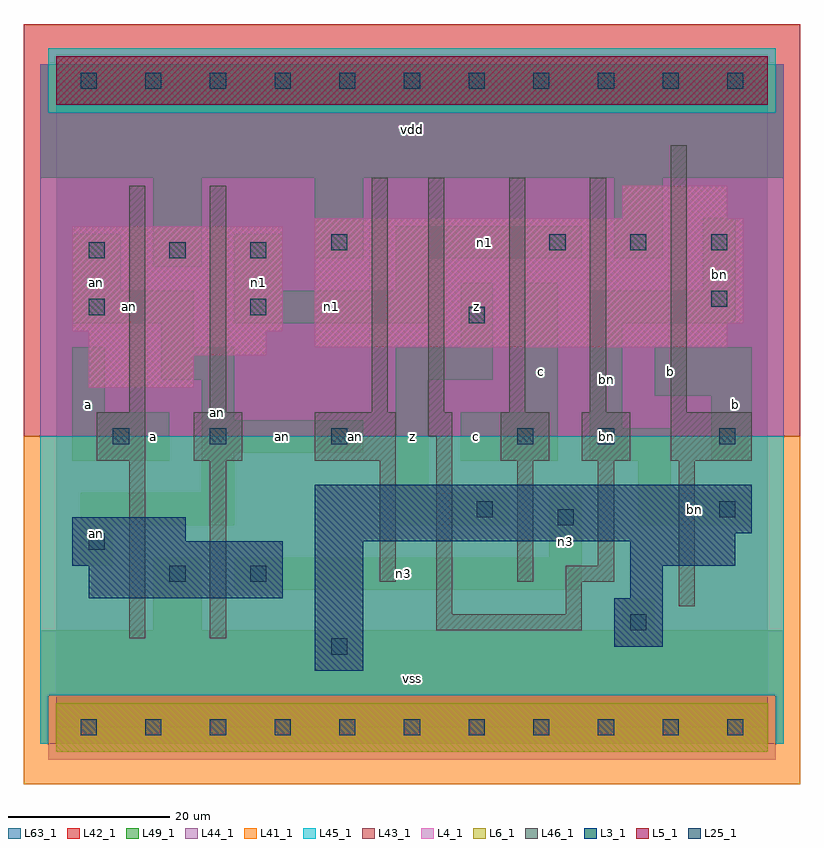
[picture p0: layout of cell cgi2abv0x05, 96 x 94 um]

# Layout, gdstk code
import gdstk
lib = gdstk.Library(unit=1e-6, precision=1e-09)
def R(c, l, rs):  # rectangles x0, y0, x1, y1
    for r in rs: c.add(gdstk.rectangle(r[:2], r[2:], *l))
def A(c, l, x, y, w, h, nx, ny, dx, dy):  # array of equal rectangles
    R(c, l, [(x+i*dx, y+j*dy, x+i*dx+w, y+j*dy+h) for i in range(nx) for j in range(ny)])
L3_1 = (3, 1)
L4_1 = (4, 1)
L5_1 = (5, 1)
L6_1 = (6, 1)
L25_1 = (25, 1)
L41_1 = (41, 1)
L42_1 = (42, 1)
L43_1 = (43, 1)
L44_1 = (44, 1)
L45_1 = (45, 1)
L46_1 = (46, 1)
L49_1 = (49, 1)
L63_1 = (63, 1)

cgi2abv0x05 = lib.new_cell('cgi2abv0x05')
R(cgi2abv0x05, L3_1, [(32,7,38,23), (69,10,75,16), (4,16,28,20), (71,16,75,20), (2,20,28,23), (71,20,84,23), (2,23,16,26), (32,23,84,24), (32,24,86,30)])
R(cgi2abv0x05, L4_1, [(4,42,17,46), (4,46,26,49), (32,47,83,50), (2,49,28,62), (32,50,85,63), (70,63,83,67)])
R(cgi2abv0x05, L5_1, [(0,77,88,83)])
R(cgi2abv0x05, L6_1, [(0,-3,88,3), (0,-3,88,3)])
A(cgi2abv0x05, L25_1, 3, -1, 2, 2, 11, 2, 8, 80)
A(cgi2abv0x05, L25_1, 4, 58, 2, 2, 3, 1, 10, 0)
A(cgi2abv0x05, L25_1, 61, 59, 2, 2, 3, 1, 10, 0)
R(cgi2abv0x05, L25_1, [(34,9,36,11), (71,12,73,14), (14,18,16,20), (24,18,26,20), (4,22,6,24), (62,25,64,27), (52,26,54,28), (82,26,84,28), (7,35,9,37), (19,35,21,37), (34,35,36,37), (57,35,59,37), (67,35,69,37), (82,35,84,37), (51,50,53,52), (4,51,6,53), (24,51,26,53), (81,52,83,54), (34,59,36,61)])
R(cgi2abv0x05, L41_1, [(-4,-7,92,36)])
R(cgi2abv0x05, L42_1, [(-4,36,92,87)])
R(cgi2abv0x05, L43_1, [(0,-3,88,3), (32,7,38,23), (69,10,75,16), (4,16,28,20), (71,16,75,20), (2,20,28,23), (71,20,84,23), (2,23,16,26), (32,23,84,24), (32,24,86,30), (4,42,17,46), (4,46,26,49), (32,47,83,50), (2,49,28,62), (32,50,85,63), (70,63,83,67), (0,77,88,83)])
R(cgi2abv0x05, L44_1, [(-1,-4,89,4), (-2,36,90,76), (-2,76,-1,82), (89,76,90,82)])
R(cgi2abv0x05, L45_1, [(-2,-2,-1,4), (89,-2,90,4), (-2,4,90,36), (-1,76,89,84)])
A(cgi2abv0x05, L46_1, 46, 39, 2, 29, 3, 1, 10, 0)
R(cgi2abv0x05, L46_1, [(9,11,11,33), (19,11,21,33), (47,12,65,14), (47,14,49,36), (63,14,65,18), (77,15,79,33), (40,18,42,33), (57,18,59,33), (63,18,69,20), (67,20,69,33), (5,33,11,39), (17,33,23,39), (32,33,42,39), (55,33,61,39), (65,33,71,39), (76,33,86,39), (46,36,49,39), (9,39,11,67), (19,39,21,67), (39,39,41,68), (76,39,78,72)])
R(cgi2abv0x05, L49_1, [(-2,-2,90,12), (12,12,18,21), (70,12,74,16), (22,17,65,21), (3,20,7,25), (61,21,65,29), (3,25,22,29), (42,25,56,29), (72,25,86,29), (18,29,22,34), (42,29,46,43), (72,29,76,33), (2,33,14,39), (50,33,62,39), (66,33,76,37), (81,33,86,41), (18,34,38,38), (66,37,70,50), (18,38,22,43), (2,39,6,47), (58,39,62,55), (74,41,86,47), (13,43,22,47), (42,43,54,47), (13,47,17,50), (50,47,54,55), (2,50,17,54), (22,50,46,54), (66,50,84,54), (2,54,8,61), (22,54,28,61), (42,54,46,58), (80,54,84,63), (12,57,18,68), (32,58,38,68), (42,58,65,62), (69,58,75,68), (-2,68,90,82)])
R(cgi2abv0x05, L63_1, [(0,0,88,80)])
cgi2abv0x05.add(gdstk.Label('an', (20,39), layer=46, texttype=1))
cgi2abv0x05.add(gdstk.Label('an', (37,36), layer=46, texttype=1))
cgi2abv0x05.add(gdstk.Label('bn', (68,36), layer=49, texttype=1))
cgi2abv0x05.add(gdstk.Label('an', (5,24), layer=49, texttype=1))
cgi2abv0x05.add(gdstk.Label('a', (4,40), layer=49, texttype=1))
cgi2abv0x05.add(gdstk.Label('a', (12,36), layer=49, texttype=1))
cgi2abv0x05.add(gdstk.Label('an', (5,55), layer=49, texttype=1))
cgi2abv0x05.add(gdstk.Label('n1', (25,55), layer=49, texttype=1))
cgi2abv0x05.add(gdstk.Label('an', (9,52), layer=49, texttype=1))
cgi2abv0x05.add(gdstk.Label('vss', (44,6), layer=49, texttype=1))
cgi2abv0x05.add(gdstk.Label('an', (28,36), layer=49, texttype=1))
cgi2abv0x05.add(gdstk.Label('z', (44,36), layer=49, texttype=1))
cgi2abv0x05.add(gdstk.Label('n1', (34,52), layer=49, texttype=1))
cgi2abv0x05.add(gdstk.Label('vdd', (44,74), layer=49, texttype=1))
cgi2abv0x05.add(gdstk.Label('n3', (43,19), layer=49, texttype=1))
cgi2abv0x05.add(gdstk.Label('n3', (63,23), layer=49, texttype=1))
cgi2abv0x05.add(gdstk.Label('c', (52,36), layer=49, texttype=1))
cgi2abv0x05.add(gdstk.Label('c', (60,44), layer=49, texttype=1))
cgi2abv0x05.add(gdstk.Label('z', (52,52), layer=49, texttype=1))
cgi2abv0x05.add(gdstk.Label('bn', (68,43), layer=49, texttype=1))
cgi2abv0x05.add(gdstk.Label('n1', (53,60), layer=49, texttype=1))
cgi2abv0x05.add(gdstk.Label('bn', (79,27), layer=49, texttype=1))
cgi2abv0x05.add(gdstk.Label('b', (84,40), layer=49, texttype=1))
cgi2abv0x05.add(gdstk.Label('b', (76,44), layer=49, texttype=1))
cgi2abv0x05.add(gdstk.Label('bn', (82,56), layer=49, texttype=1))

lib.write_gds('cgi2abv0x05.gds')
